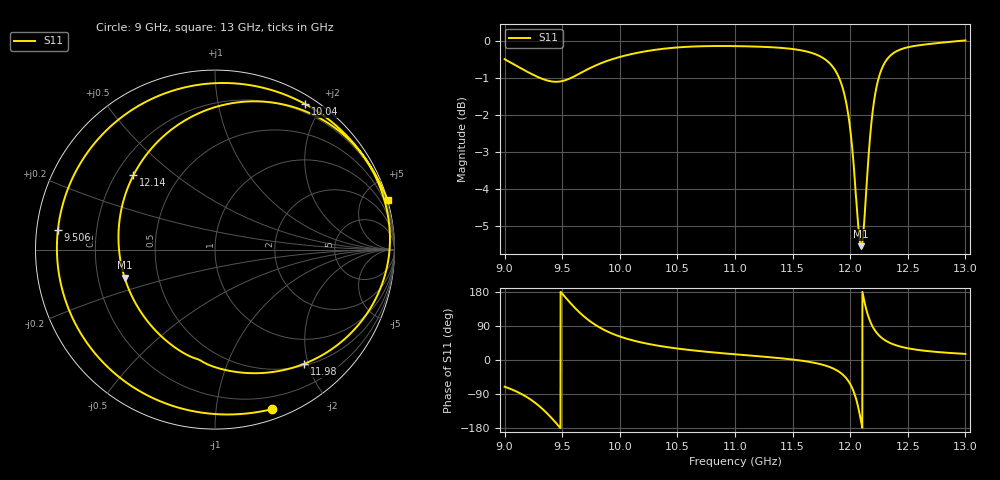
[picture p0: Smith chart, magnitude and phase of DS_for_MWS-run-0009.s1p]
! TOUCHSTONE file generated by CST DESIGN STUDIO
! Date and time: Tue Feb  4 14:26:53 2025
! Project name: C:\Work\MatlabApps\UnitCellOptimizationMatlab\CST\unitcell.cst
! Tree item: Tasks\Sweep1\SPara1\S-Parameters
! Header version: 2024
! Port assignment regex: !\s*Touchstone port\s*([0-9]+)\s*=\s*(CST MWS port|CST DES external port|CST DES block port)\s*(.+)\s* \(\"(.*)\"\)(\s*mode\s*([0-9]+))?.*
! Touchstone port assignment:
! Touchstone port 1 = CST DES external port 1 ("")
# GHz S MA R 50
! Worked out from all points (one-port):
!   4001 points, 9 GHz to 13 GHz, reference 50 ohm
!   lowest |S11| = -5.6 dB at 12.1 GHz (marker M1), VSWR 3.23, Z = 15.8 - j6.83 ohm
!   |S11| at or under -10 dB: nowhere
!   S11 on the Smith chart (normalised r, x): 9 GHz: 0.09, -1.41; 9.506 GHz: 0.06, +0.06; 10.04 GHz: 0.10, +1.79; 11.98 GHz: 0.53, -1.93; 12.14 GHz: 0.27, +0.36; 13 GHz: -0.01, +7.09
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9  0.9439 -70.4
9.17  0.9123 -93.7
9.286  0.8933 -117.9
9.411  0.8806 -154.3
9.5  0.8818 174.9
9.506  0.8822 172.8
9.613  0.8962 136.7
9.71  0.9129 109.7
9.853  0.9343 81.1
10  0.9505 62.0
10.038  0.9539 58.2
10.238  0.9682 43.0
10.5  0.9791 30.3
11  0.9831 15.0
11.5  0.9742 1.3
11.831  0.9287 -19.6
11.915  0.8815 -33.5
11.976  0.8071 -52.1
12  0.7596 -63.4
12.05  0.615 -101.0
12.095  0.5274 -162.8
12.136  0.6152 137.6
12.164  0.7139 109.3
12.193  0.7974 89.1
12.281  0.9214 56.6
12.37  0.9606 41.8
12.5  0.9796 31.0
13  1.001 16.1
